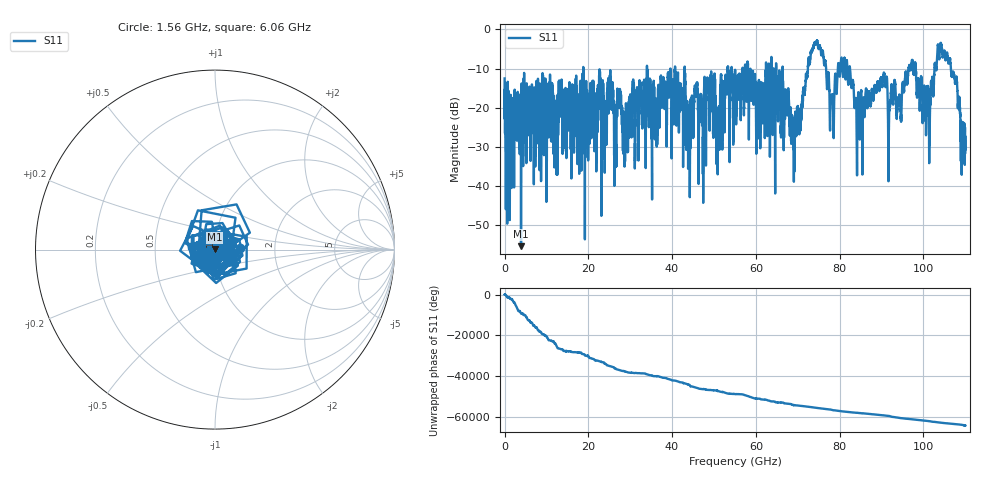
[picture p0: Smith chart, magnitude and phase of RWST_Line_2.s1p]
#  HZ  S  RI  R  50.00
! Rohde & Schwarz ZVA67 4Ports - Version 4.11 - 1305.7002k04 SN: 101032
! Date: 2026-02-18 15:14:00
! Measurement: a1d2/b1d2sam
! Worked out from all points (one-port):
!   5500 points, 20 MHz to 110 GHz, reference 50 ohm
!   lowest |S11| = -55.4 dB at 3.94 GHz (marker M1), VSWR 1.00, Z = 49.9 + j0.103 ohm
!   |S11| at or under -10 dB: start of sweep to 18.8 GHz; 18.81 GHz to 33.97 GHz (15.17 GHz wide, 57.5 % of centre); 82.47 GHz to 96.45 GHz (13.98 GHz wide, 15.6 % of centre)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
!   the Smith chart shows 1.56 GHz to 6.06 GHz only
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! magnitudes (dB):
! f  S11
! 20 MHz  -12.5
! 3.94 GHz  -55.4
! 13.78 GHz  -17.3
! 27.52 GHz  -16.6
! 28.8 GHz  -27.6
! 34.34 GHz  -20.1
! 41.28 GHz  -11.4
! 43.86 GHz  -25.3
! 45.68 GHz  -16.6
! 46.88 GHz  -18.2
! 49 GHz  -17.3
! 50.9 GHz  -28.2
! 53.08 GHz  -16.5
! 55.02 GHz  -12.2
! 63.96 GHz  -21.2
! 68.76 GHz  -25.0
! 74.22 GHz  -3.6
! 78.12 GHz  -17.2
! 80.06 GHz  -11.5
! 82.52 GHz  -10.7
! 84.42 GHz  -16.5
! 90.24 GHz  -14.0
! 94.22 GHz  -17.9
! 96.26 GHz  -12.3
! 101 GHz  -15.0
! 104.5 GHz  -6.2
! 107.6 GHz  -13.4
! 110 GHz  -30.5
